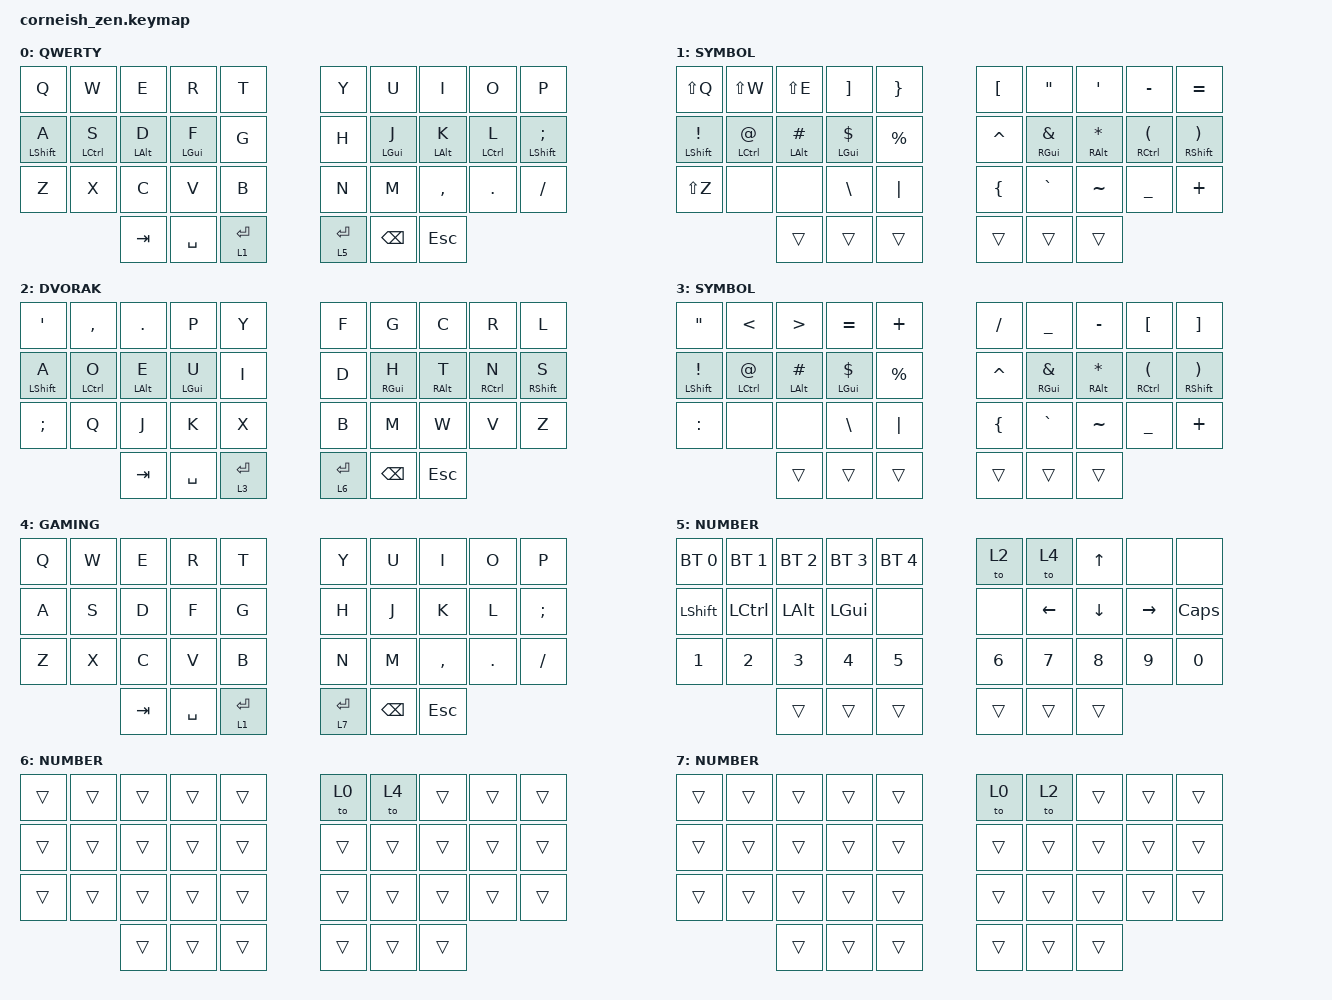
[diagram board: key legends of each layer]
#include <behaviors.dtsi>
#include <dt-bindings/zmk/keys.h>
#include <dt-bindings/zmk/bt.h>

&lt {
  tapping-term-ms = <300>;
};

/ {
  chosen {
    zmk,physical-layout = &foostan_corne_5col_layout;
  };
};

/ {
  behaviors {
    pht: positional_hold_tap {
      compatible = "zmk,behavior-hold-tap";
      #binding-cells = <2>;
      flavor = "balanced";
      tapping-term-ms = <300>;
      bindings = <&kp>, <&kp>;
    };
  };

  keymap {
    compatible = "zmk,keymap";

    qwerty {
      label = "QWERTY";
      //                          -----------------------------------------------------------------
      //                          |  Q  |  W  |  E  |  R  |  T  |   |  Y  |  U  |  I  |  O  |  P  |
      //                          |  A  |  S  |  D  |  F  |  G  |   |  H  |  J  |  K  |  L  |  ;  |
      //                          |  Z  |  X  |  C  |  V  |  B  |   |  N  |  M  |  ,  |  .  |  /  |
      //                                      | TAB | SPC | L1  |   | L5  | BKS | ESC |
      bindings = <
        &kp Q         &kp W        &kp E       &kp R       &kp T     &kp Y     &kp U       &kp I       &kp O        &kp P
        &pht LSHIFT A &pht LCTRL S &pht LALT D &pht LGUI F &kp G     &kp H     &pht LGUI J &pht LALT K &pht LCTRL L &pht LSHIFT SEMI
        &kp Z         &kp X        &kp C       &kp V       &kp B     &kp N     &kp M       &kp COMMA   &kp DOT      &kp FSLH
                                   &kp TAB     &kp SPACE   &lt 1 RET &lt 5 RET &kp BKSP    &kp ESC
      >;
    };

    qwerty_symbol {
      label = "SYMBOL";
      //                          -----------------------------------------------------------------
      //                          |  Q  |  W  |  E  |  ]  |  }  |   |  [  |  "  |  '  |  -  |  =  |
      //                          |  !  |  @  |  #  |  $  |  %  |   |  ^  |  &  |  *  |  (  |  )  |
      //                          |  Z  |     |     |  \  |  |  |   |  {  |  `  |  ~  |  _  |  +  |
      //                                      | TAB | SPC | L1  |   | L5  | BKS | ESC |
      bindings = <
        &kp LS(Q)        &kp LS(W)     &kp LS(E)      &kp RBKT       &kp RBRC  &kp LBKT  &kp DQT        &kp SQT        &kp MINUS       &kp EQUAL
        &pht LSHIFT EXCL &pht LCTRL AT &pht LALT HASH &pht LGUI DLLR &kp PRCNT &kp CARET &pht RGUI AMPS &pht RALT STAR &pht RCTRL LPAR &pht RSHIFT RPAR
        &kp LS(Z)        &none         &none          &kp BACKSLASH  &kp PIPE  &kp LBRC  &kp GRAVE      &kp TILDE      &kp UNDER       &kp PLUS
                                       &trans         &trans         &trans    &trans    &trans         &trans
      >;
    };

    dvorak {
      label = "DVORAK";
      //                          -----------------------------------------------------------------
      //                          |  '  |  ,  |  .  |  P  |  Y  |   |  F  |  G  |  C  |  R  |  L  |
      //                          |  A  |  O  |  E  |  U  |  I  |   |  D  |  H  |  T  |  N  |  S  |
      //                          |  ;  |  Q  |  J  |  K  |  X  |   |  B  |  M  |  W  |  V  |  Z  |
      //                                      | TAB | SPC | L3  |   | L6  | BKS | ESC |
      bindings = <
        &kp SQT       &kp COMMA    &kp DOT     &kp P       &kp Y     &kp F     &kp G       &kp C       &kp R        &kp L
        &pht LSHIFT A &pht LCTRL O &pht LALT E &pht LGUI U &kp I     &kp D     &pht RGUI H &pht RALT T &pht RCTRL N &pht RSHIFT S
        &kp SEMI      &kp Q        &kp J       &kp K       &kp X     &kp B     &kp M       &kp W       &kp V        &kp Z
                                   &kp TAB     &kp SPACE   &lt 3 RET &lt 6 RET &kp BKSP    &kp ESC
      >;
    };

    dvorak_symbol {
      label = "SYMBOL";
      //                          -----------------------------------------------------------------
      //                          |  "  |  <  |  >  |  =  |  +  |   |  /  |  _  |  -  |  [  |  ]  |
      //                          |  !  |  @  |  #  |  $  |  %  |   |  ^  |  &  |  *  |  (  |  )  |
      //                          |  :  |     |     |  \  |  |  |   |  ?  |  `  |  ~  |  {  |  }  |
      //                                      | TAB | SPC | L3  |   | L6  | BKS | ESC |
      bindings = <
        &kp DQT          &kp LT        &kp GT         &kp EQUAL      &kp PLUS  &kp SLASH &kp UNDER      &kp MINUS      &kp LBKT        &kp RBKT
        &pht LSHIFT EXCL &pht LCTRL AT &pht LALT HASH &pht LGUI DLLR &kp PRCNT &kp CARET &pht RGUI AMPS &pht RALT STAR &pht RCTRL LPAR &pht RSHIFT RPAR
        &kp COLON        &none         &none          &kp BACKSLASH  &kp PIPE  &kp LBRC  &kp GRAVE      &kp TILDE      &kp UNDER       &kp PLUS
                                       &trans         &trans         &trans    &trans    &trans         &trans
      >;
    };

    gaming {
      label = "GAMING";
      //                          -----------------------------------------------------------------
      //                          |  Q  |  W  |  E  |  R  |  T  |   |  Y  |  U  |  I  |  O  |  P  |
      //                          |  A  |  S  |  D  |  F  |  G  |   |  H  |  J  |  K  |  L  |  ;  |
      //                          |  Z  |  X  |  C  |  V  |  B  |   |  N  |  M  |  ,  |  .  |  /  |
      //                                      | TAB | SPC | L1  |   | L7  | BKS | ESC |
      bindings = <
        &kp Q  &kp W  &kp E   &kp R     &kp T     &kp Y     &kp U    &kp I     &kp O   &kp P
        &kp A  &kp S  &kp D   &kp F     &kp G     &kp H     &kp J    &kp K     &kp L   &kp SEMI
        &kp Z  &kp X  &kp C   &kp V     &kp B     &kp N     &kp M    &kp COMMA &kp DOT &kp FSLH
                      &kp TAB &kp SPACE &lt 1 RET &lt 7 RET &kp BKSP &kp ESC
      >;
    };

    qwerty_number {
      label = "NUMBER";
      //                          -----------------------------------------------------------------
      //                          | BT1 | BT2 | BT3 | BT4 | BT5 |   | L2  | L4  |  ↑  |     |     |
      //                          |     |     |     |     |     |   |     |  ←  |  ↓  |  →  | CAP |
      //                          |  1  |  2  |  3  |  4  |  5  |   |  6  |  7  |  8  |  9  |  0  |
      //                                      | TAB | SPC |     |   |     | BKS | ESC |
      bindings = <
        &bt BT_SEL 0 &bt BT_SEL 1 &bt BT_SEL 2 &bt BT_SEL 3 &bt BT_SEL 4 &to 2   &to 4    &kp UP   &none     &none
        &kp LSHIFT   &kp LCTRL    &kp LALT     &kp LGUI     &none        &none   &kp LEFT &kp DOWN &kp RIGHT &kp CAPSLOCK
        &kp N1       &kp N2       &kp N3       &kp N4       &kp N5       &kp N6  &kp N7   &kp N8   &kp N9    &kp N0
                                  &trans       &trans       &trans       &trans  &trans   &trans
      >;
    };

    dvorak_number {
      label = "NUMBER";
      //                          -----------------------------------------------------------------
      //                          | BT1 | BT2 | BT3 | BT4 | BT5 |   | L0  | L4  |  ↑  |     |     |
      //                          |     |     |     |     |     |   |     |  ←  |  ↓  |  →  |     |
      //                          |  1  |  2  |  3  |  4  |  5  |   |  6  |  7  |  8  |  9  |  0  |
      //                                      | TAB | SPC |     |   |     | BKS | ESC |
      bindings = <
        &trans   &trans   &trans   &trans   &trans   &to 0    &to 4    &trans   &trans   &trans
        &trans   &trans   &trans   &trans   &trans   &trans   &trans   &trans   &trans   &trans
        &trans   &trans   &trans   &trans   &trans   &trans   &trans   &trans   &trans   &trans
                          &trans   &trans   &trans   &trans   &trans   &trans
      >;
    };

    gaming_number {
      label = "NUMBER";
      //                          -----------------------------------------------------------------
      //                          | BT1 | BT2 | BT3 | BT4 | BT5 |   | L0  | L2  |  ↑  |     |     |
      //                          |     |     |     |     |     |   |     |  ←  |  ↓  |  →  | CAP |
      //                          |  1  |  2  |  3  |  4  |  5  |   |  6  |  7  |  8  |  9  |  0  |
      //                                      | TAB | SPC |     |   |     | BKS | ESC |
      bindings = <
        &trans   &trans   &trans   &trans   &trans   &to 0    &to 2    &trans   &trans   &trans
        &trans   &trans   &trans   &trans   &trans   &trans   &trans   &trans   &trans   &trans
        &trans   &trans   &trans   &trans   &trans   &trans   &trans   &trans   &trans   &trans
                          &trans   &trans   &trans   &trans   &trans   &trans
      >;
    };
  };
};
